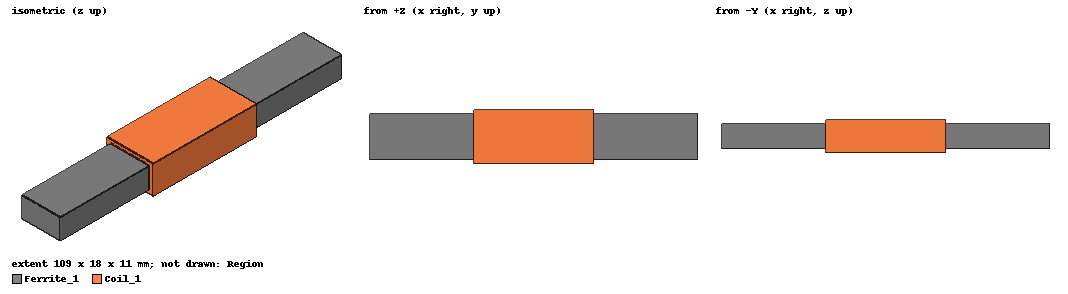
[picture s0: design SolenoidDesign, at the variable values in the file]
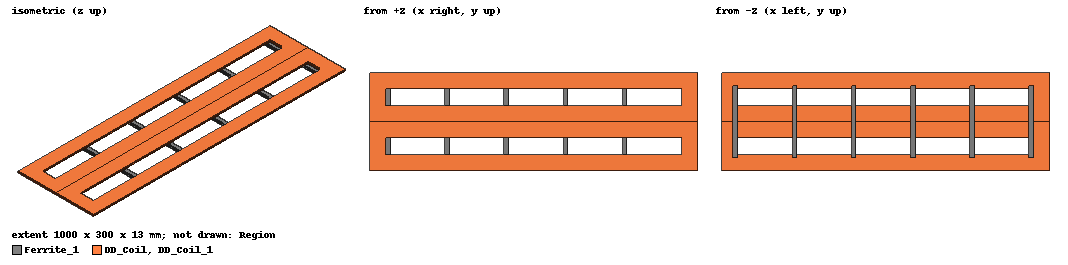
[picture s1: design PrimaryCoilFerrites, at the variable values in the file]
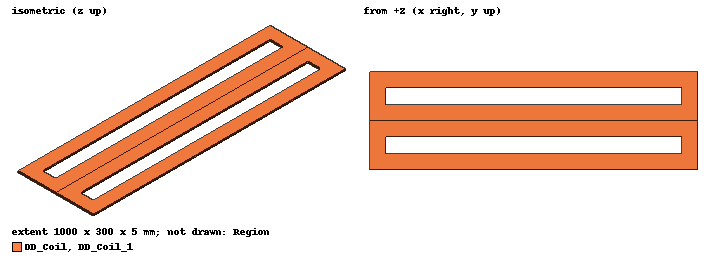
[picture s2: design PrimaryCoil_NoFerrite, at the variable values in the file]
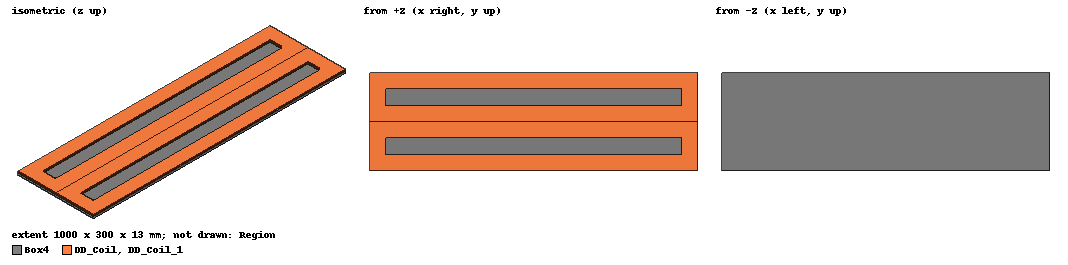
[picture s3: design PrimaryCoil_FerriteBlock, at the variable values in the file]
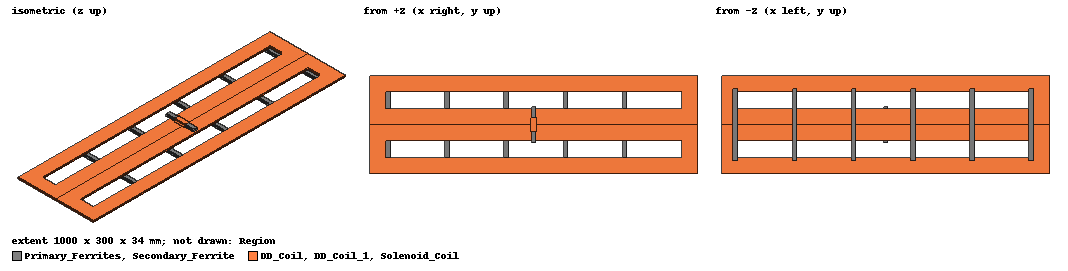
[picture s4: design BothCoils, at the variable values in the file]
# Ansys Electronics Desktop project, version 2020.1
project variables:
  $P1 = 10mm
  $track_width = 300mm
  $box_width = ($track_width - 2*$parameter_2 - $parameter_1) / 2  # Do not change -Width of inner gaps
  $coil_diameter = 5mm  # Thickness of coil
  $parameter_1 = 100mm  # The width of the centre portion of DD coil
  $parameter_2 = 50mm  # Width of side parts of DD Coil
  $Parameter_3 = 109mm  # Length of ferrite in secondary
  $Parameter_4 = 40mm  # length of copper coil in 2ndary
  $parameter_5 = ($track_length - 2 * $parameter_2) / ($Num_Ferrites - 1)  # ($track_length - 2 * $parameter_2) / ($Num_Ferrites - 1)
  $Parameter_6 = 218mm  # Length of cores on primary
  $Num_Ferrites = 6  # ((1000mm - 2 * $parameter_2) / ($parameter_5)) + 1
  $track_length = 1000mm  # Length of the track
  $Air_Gap = 15mm  # Height of secondary solenoid above primary DD coil
  $X_displacement = 0mm  # Displacement of secondary solenoid X-axis(0 to length of track)
  $Y_displacement = 0mm  # displacement of secondary along y-axis
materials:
  vacuum: permittivity=1
  copper: permeability=0.999991 conductivity=58000000
  ferrite: permittivity=12 permeability=1000 conductivity=0.01

design SolenoidDesign (Maxwell 3D, Magnetostatic, model units mm)
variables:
  P = 25mm
  Parameter_3 = $Parameter_3
  Parameter_4 = $Parameter_4
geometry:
  Ferrite_1 [ferrite] = box(corner=(-54.5mm, -7.5mm, -4mm), size=(Parameter_3, 15mm, 8mm))
  Coil_1 [copper] = box(corner=(-$Parameter_4/2, -9mm, -5.5mm), size=(Parameter_4, 18mm, 11mm))
  Box3 = box(corner=(-$Parameter_4/2, -7.5mm, -4mm), size=(Parameter_4, 15mm, 8mm))
  Coil_1.subtract(Box3)
  Coil_1_Section1 [copper] = Coil_1.section(plane=XY)
  Coil_1_Section1.separate_bodies()
  Region [vacuum] = region(percentage_offset: +X=200, -X=200, +Y=800, -Y=800, +Z=1000, -Z=600)
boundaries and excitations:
  L_pt: Current Objects=Coil_1_Section1 Current=1A IsSolid=false Point_out_of_terminal=false
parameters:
  Matrix1: Matrix L_pt: NumberOfTurns=20
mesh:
  initial mesh: GlobalCurvilinear{Apply}
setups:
  Setup1: Magnetostatic MaximumPasses=30 MinimumPasses=2 MinimumConvergedPasses=1 PercentRefinement=30 PercentError=1 NonLinearResidual=0.001
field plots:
  B_Vector1: B over a plane on Setup1 : LastAdaptive
  Mesh1: MeshPlots in Coil_1 on Setup1 : LastAdaptive
  Mesh2: MeshPlots in Ferrite_1 on Setup1 : LastAdaptive
  Mesh3: MeshPlots in Region on Setup1 : LastAdaptive
  Mag_B1: B over Ferrite_1.face(+y) on Setup1 : LastAdaptive

design PrimaryCoilFerrites (Maxwell 3D, Magnetostatic, model units mm)
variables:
  b1_y = 50mm
  box1width = 30mm
  box2width = $box_width
  coil_diameter = $coil_diameter
  P_2 = $parameter_2
  P_1 = ($parameter_1) / 2
  Parameter_3 = $Parameter_3
  height_above_coil = 9mm
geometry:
  DD_Coil [copper] = box(corner=(-$track_length / 2, 0mm, 0mm), size=($track_length, $track_width / 2, coil_diameter))
  Box3 = box(corner=(-(1000mm-$parameter_2*2)/2, $parameter_2, 0mm), size=(1000mm-$parameter_2*2, box2width, coil_diameter))
  Box3_1 = Box3.duplicate_mirror(point=(100mm, 150mm, 0mm), normal=(0mm, -1mm, 0mm))
  DD_Coil.subtract(Box3, Box3_1)
  coordinate_system RelativeCS1 = origin=(0mm, 0mm, height_above_coil) x=(1mm, 0mm, 0mm) y=(0mm, 1mm, 0mm)
  Ferrite_1 [ferrite] = box(corner=(-(1000mm-$parameter_2*2)/2, -$Parameter_6/2, -17mm), size=(15mm, $Parameter_6, 8mm)) in RelativeCS1
  Ferrite_1.duplicate_along_line(step=($parameter_5, 0mm, 0mm), total=$Num_Ferrites, attached) in RelativeCS1
  DD_Coil_1 [copper] = DD_Coil.duplicate_mirror(point=(0mm, 0mm, 0mm), normal=(0mm, -1mm, 0mm)) in RelativeCS1
  DD_Coil_1_Section1 = DD_Coil_1.section(plane=YZ) in RelativeCS1
  DD_Coil_Section1 = DD_Coil.section(plane=YZ) in RelativeCS1
  DD_Coil_1_Section1_Separate1 [copper] = DD_Coil_1_Section1.separate_bodies()
  DD_Coil_1_Section1.delete()
  DD_Coil_Section1_Separate1 [copper] = DD_Coil_Section1.separate_bodies()
  DD_Coil_Section1.delete()
  Region [vacuum] = region(percentage_offset: +X=100, -X=100, +Y=500, -Y=500, +Z=3000, -Z=2000)
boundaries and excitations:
  Insulating1: Insulating Faces=DD_Coil.face(-y)
  Lpt_A: Current Objects=DD_Coil_1_Section1_Separate1 Current=1A IsSolid=false Point_out_of_terminal=false
  Lpt_B: Current Objects=DD_Coil_Section1_Separate1 Current=1A IsSolid=false Point_out_of_terminal=false
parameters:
  Matrix1: Matrix Lpt_A, Lpt_B: NumberOfTurns=1
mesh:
  initial mesh: GlobalCurvilinear{Apply}
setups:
  Setup1: Magnetostatic MaximumPasses=10 MinimumPasses=2 MinimumConvergedPasses=1 PercentRefinement=30 PercentError=1 NonLinearResidual=0.001
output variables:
  L_pt = Matrix1.Lnom(Lpt_A,Lpt_A)+Matrix1.Lnom(Lpt_B,Lpt_B)+Matrix1.Lnom(Lpt_B,Lpt_A)+Matrix1.Lnom(Lpt_A,Lpt_B)
  k_pt = Matrix1.CplCoef(Lpt_B,Lpt_A)
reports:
  Output Variables Table 1: L_pt, k_pt vs b1_y on Setup1 : LastAdaptive

design PrimaryCoil_NoFerrite (Maxwell 3D, Magnetostatic, model units mm)
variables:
  b1_y = 50mm
  box1width = 30mm
  box2width = $box_width
  coil_diameter = $coil_diameter
  P_2 = $parameter_2
  P_1 = ($parameter_1) / 2
  Parameter_3 = $Parameter_3
  height_above_coil = 9mm
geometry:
  DD_Coil [copper] = box(corner=(-$track_length / 2, 0mm, 0mm), size=($track_length, $track_width / 2, coil_diameter))
  Box3 = box(corner=(-(1000mm-$parameter_2*2)/2, $parameter_2, 0mm), size=(1000mm-$parameter_2*2, box2width, coil_diameter))
  Box3_1 = Box3.duplicate_mirror(point=(100mm, 150mm, 0mm), normal=(0mm, -1mm, 0mm))
  DD_Coil.subtract(Box3, Box3_1)
  coordinate_system RelativeCS1 = origin=(0mm, 0mm, height_above_coil) x=(1mm, 0mm, 0mm) y=(0mm, 1mm, 0mm)
  DD_Coil_1 [copper] = DD_Coil.duplicate_mirror(point=(0mm, 0mm, 0mm), normal=(0mm, -1mm, 0mm)) in RelativeCS1
  DD_Coil_1_Section1 = DD_Coil_1.section(plane=YZ) in RelativeCS1
  DD_Coil_Section1 = DD_Coil.section(plane=YZ) in RelativeCS1
  DD_Coil_1_Section1_Separate1 [copper] = DD_Coil_1_Section1.separate_bodies()
  DD_Coil_1_Section1.delete()
  DD_Coil_Section1_Separate1 [copper] = DD_Coil_Section1.separate_bodies()
  DD_Coil_Section1.delete()
  Region [vacuum] = region(percentage_offset: +X=100, -X=100, +Y=500, -Y=500, +Z=3000, -Z=2000)
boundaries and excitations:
  Insulating1: Insulating Faces=DD_Coil.face(-y)
  Lpt_A: Current Objects=DD_Coil_1_Section1_Separate1 Current=1A IsSolid=false Point_out_of_terminal=false
  Lpt_B: Current Objects=DD_Coil_Section1_Separate1 Current=1A IsSolid=false Point_out_of_terminal=false
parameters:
  Matrix1: Matrix Lpt_A, Lpt_B: NumberOfTurns=1
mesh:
  initial mesh: GlobalCurvilinear{Apply}
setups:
  Setup1: Magnetostatic MaximumPasses=15 MinimumPasses=2 MinimumConvergedPasses=1 PercentRefinement=30 PercentError=1 NonLinearResidual=0.001
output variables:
  L_pt = Matrix1.Lnom(Lpt_A,Lpt_A)+Matrix1.Lnom(Lpt_B,Lpt_B)+Matrix1.Lnom(Lpt_B,Lpt_A)+Matrix1.Lnom(Lpt_A,Lpt_B)
  k_pt = Matrix1.CplCoef(Lpt_B,Lpt_A)
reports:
  Output Variables Table 1: L_pt, k_pt vs b1_y on Setup1 : LastAdaptive

design PrimaryCoil_FerriteBlock (Maxwell 3D, Magnetostatic, model units mm)
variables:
  b1_y = 50mm
  box1width = 30mm
  box2width = $box_width
  coil_diameter = $coil_diameter
  P_2 = $parameter_2
  P_1 = ($parameter_1) / 2
  Parameter_3 = $Parameter_3
  height_above_coil = 9mm
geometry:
  DD_Coil [copper] = box(corner=(-$track_length / 2, 0mm, 0mm), size=($track_length, $track_width / 2, coil_diameter))
  Box3 = box(corner=(-(1000mm-$parameter_2*2)/2, $parameter_2, 0mm), size=(1000mm-$parameter_2*2, box2width, coil_diameter))
  Box3_1 = Box3.duplicate_mirror(point=(100mm, 150mm, 0mm), normal=(0mm, -1mm, 0mm))
  DD_Coil.subtract(Box3, Box3_1)
  coordinate_system RelativeCS1 = origin=(0mm, 0mm, height_above_coil) x=(1mm, 0mm, 0mm) y=(0mm, 1mm, 0mm)
  DD_Coil_1 [copper] = DD_Coil.duplicate_mirror(point=(0mm, 0mm, 0mm), normal=(0mm, -1mm, 0mm)) in RelativeCS1
  DD_Coil_1_Section1 = DD_Coil_1.section(plane=YZ) in RelativeCS1
  DD_Coil_Section1 = DD_Coil.section(plane=YZ) in RelativeCS1
  DD_Coil_1_Section1_Separate1 [copper] = DD_Coil_1_Section1.separate_bodies()
  DD_Coil_1_Section1.delete()
  DD_Coil_Section1_Separate1 [copper] = DD_Coil_Section1.separate_bodies()
  DD_Coil_Section1.delete()
  Region [vacuum] = region(percentage_offset: +X=100, -X=100, +Y=500, -Y=500, +Z=3000, -Z=2000)
  Box4 [ferrite] = box(corner=(-500mm, -150mm, -8mm), size=(1000mm, 300mm, 8mm))
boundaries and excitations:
  Insulating1: Insulating Faces=DD_Coil.face(-y)
  Lpt_A: Current Objects=DD_Coil_1_Section1_Separate1 Current=1A IsSolid=false Point_out_of_terminal=false
  Lpt_B: Current Objects=DD_Coil_Section1_Separate1 Current=1A IsSolid=false Point_out_of_terminal=false
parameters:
  Matrix1: Matrix Lpt_A, Lpt_B: NumberOfTurns=1
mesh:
  initial mesh: GlobalCurvilinear{Apply}
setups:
  Setup1: Magnetostatic MaximumPasses=15 MinimumPasses=2 MinimumConvergedPasses=1 PercentRefinement=30 PercentError=1 NonLinearResidual=0.001
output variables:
  L_pt = Matrix1.Lnom(Lpt_A,Lpt_A)+Matrix1.Lnom(Lpt_B,Lpt_B)+Matrix1.Lnom(Lpt_B,Lpt_A)+Matrix1.Lnom(Lpt_A,Lpt_B)
  k_pt = Matrix1.CplCoef(Lpt_B,Lpt_A)
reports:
  Output Variables Table 1: L_pt, k_pt vs b1_y on Setup1 : LastAdaptive

design BothCoils (Maxwell 3D, Magnetostatic, model units mm)
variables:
  b1_y = 50mm
  box1width = 30mm
  box2width = $box_width
  coil_diameter = $coil_diameter
  P_2 = $parameter_2
  P_1 = ($parameter_1) / 2
  Parameter_3 = $Parameter_3
  height_above_coil = 9mm
  Parameter_4 = $Parameter_4
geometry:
  DD_Coil [copper] = box(corner=(-$track_length / 2, 0mm, 0mm), size=($track_length, $track_width / 2, coil_diameter))
  Box3 = box(corner=(-(1000mm-$parameter_2*2)/2, $parameter_2, 0mm), size=(1000mm-$parameter_2*2, box2width, coil_diameter))
  Box3_1 = Box3.duplicate_mirror(point=(100mm, 150mm, 0mm), normal=(0mm, -1mm, 0mm))
  DD_Coil.subtract(Box3, Box3_1)
  Primary_Ferrites [ferrite] = box(corner=(-(1000mm-$parameter_2*2)/2, -$Parameter_6/2, -8mm), size=(15mm, $Parameter_6, 8mm))
  Primary_Ferrites.duplicate_along_line(step=($parameter_5, 0mm, 0mm), total=$Num_Ferrites, attached)
  DD_Coil_1 [copper] = DD_Coil.duplicate_mirror(point=(0mm, 0mm, 0mm), normal=(0mm, -1mm, 0mm))
  Region [vacuum] = region(percentage_offset: +X=100, -X=100, +Y=500, -Y=500, +Z=3000, -Z=2000)
  Secondary_Ferrite [ferrite] = box(corner=(-54.5mm + $Y_displacement, -7.5mm +$X_displacement, $Air_Gap+1.5mm), size=(Parameter_3, 15mm, 8mm))
  Solenoid_Coil [copper] = box(corner=(-$Parameter_4/2 +$Y_displacement, -9mm+$X_displacement, $Air_Gap), size=(Parameter_4, 18mm, 11mm))
  Box4 = box(corner=(-$Parameter_4/2 +$Y_displacement, -7.5mm+$X_displacement, $Air_Gap+1.5mm), size=(Parameter_4, 15mm, 8mm))
  Solenoid_Coil.subtract(Box4)
  [Secondary_Ferrite, Solenoid_Coil].rotate(axis=Z, angle=90deg)
  DD_Coil_1_Section1 = DD_Coil_1.section(plane=YZ)
  DD_Coil_Section1 = DD_Coil.section(plane=YZ)
  DD_Coil_1_Section1_Separate1 [copper] = DD_Coil_1_Section1.separate_bodies()
  DD_Coil_1_Section1.delete()
  DD_Coil_Section1_Separate1 [copper] = DD_Coil_Section1.separate_bodies()
  DD_Coil_Section1.delete()
  Solenoid_Coil_Section1 [copper] = Solenoid_Coil.section(plane=YZ)
  Solenoid_Coil_Section1.separate_bodies()
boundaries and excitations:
  Insulating1: Insulating Faces=DD_Coil.face(-y)
  Lpt_A: Current Objects=DD_Coil_1_Section1_Separate1 Current=1A IsSolid=false Point_out_of_terminal=false
  Lpt_B: Current Objects=DD_Coil_Section1_Separate1 Current=1A IsSolid=false Point_out_of_terminal=false
  Lst: Current Objects=Solenoid_Coil_Section1 Current=1A IsSolid=false Point_out_of_terminal=false
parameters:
  Matrix1: Matrix Lpt_A, Lpt_B, Lst: NumberOfTurns=1
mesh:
  initial mesh: GlobalCurvilinear{Apply}
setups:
  Setup1: Magnetostatic MaximumPasses=20 MinimumPasses=2 MinimumConvergedPasses=1 PercentRefinement=30 PercentError=1 NonLinearResidual=0.001
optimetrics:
  ParametricSetup1: Parametric Sim._Setups=[Setup1]
    sweep $parameter_1: LIN 20mm 100mm 10mm
    sweep $parameter_2: LIN 10mm 50mm 10mm
    sweep $Parameter_4: LIN 10mm 30mm 10mm
    sweep $Num_Ferrites: LIN 2 10 1
    sweep $Parameter_6: LIN 109mm 218mm 109mm
    calculate k_new on Setup1 : LastAdaptive
    calculate Mpt_st on Setup1 : LastAdaptive
  ParametricSetup2: Parametric disabled Sim._Setups=[Setup1]
    sweep $parameter_1: LIN 20mm 100mm 40mm
    sweep $parameter_2: LIN 10mm 50mm 20mm
    sweep $Parameter_4: LIN 10mm 30mm 10mm
    sweep $Num_Ferrites: LIN 2 12 4
    sweep $Parameter_6: LIN 109mm 218mm 109mm
    calculate k_new on Setup1 : LastAdaptive
    calculate Mpt_st on Setup1 : LastAdaptive
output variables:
  Mpt_st = Matrix1.Lnom(Lpt_A,Lst)+Matrix1.Lnom(Lpt_B,Lst)
  L_st = Matrix1.Lnom(Lst,Lst)
  Lpt_new = Matrix1.L(Lpt_A,Lpt_A)+Matrix1.L(Lpt_B,Lpt_B)+Matrix1.L(Lpt_B,Lpt_A)+Matrix1.L(Lpt_A,Lpt_B)
  k_new = Mpt_st/sqrt(Lpt_new*L_st)
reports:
  Output Variables Plot 1: k_new, Lpt_new, Mpt_st vs $parameter_1 on Setup1 : LastAdaptive [$parameter_2=all $Parameter_4=all $Parameter_6=all $Num_Ferrites=all]
  Output Variables Table 5: k_new, Lpt_new, Mpt_st vs $Num_Ferrites on Setup1 : LastAdaptive [$parameter_1=all $parameter_2=all $Parameter_4=all $Parameter_6=all]
  Output Variables Plot 2: k_new, Lpt_new, Mpt_st vs $Num_Ferrites on Setup1 : LastAdaptive [$parameter_1=all $parameter_2=all $Parameter_4=all $Parameter_6=all]
